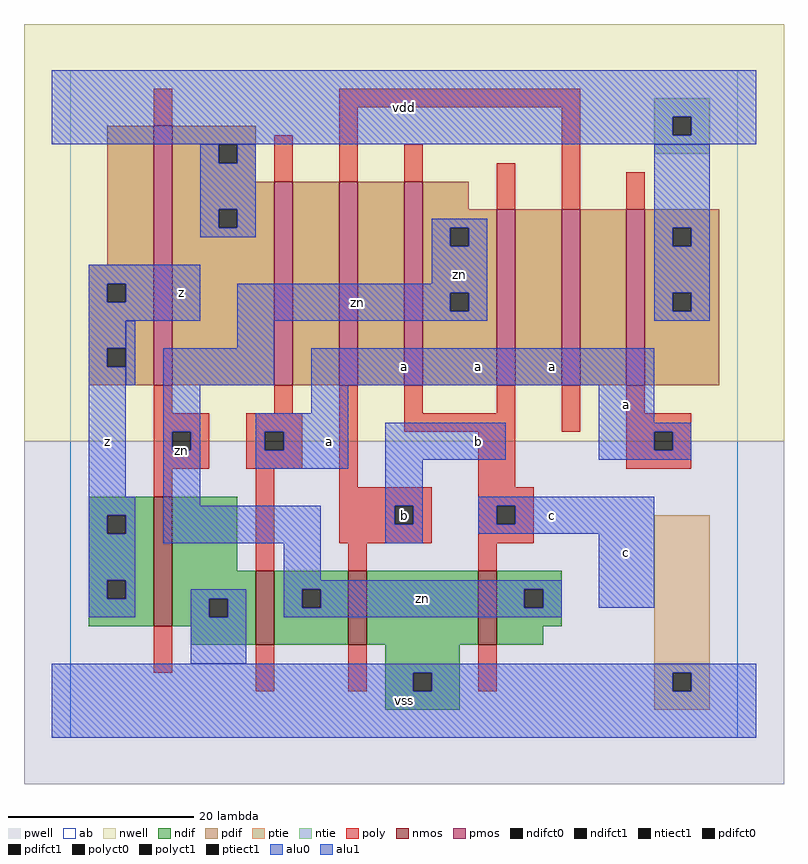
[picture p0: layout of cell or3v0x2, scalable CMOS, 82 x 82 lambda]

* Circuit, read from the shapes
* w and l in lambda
.subckt or3v0x2 a b c vdd vss z zn
M1 vss zn z vss nfet w=14 l=2
M2 zn a vss vss nfet w=8 l=2
M3 vss b zn vss nfet w=8 l=2
M4 zn c vss vss nfet w=8 l=2
M5 vdd zn z vdd pfet w=28 l=2
M6 n1 a vdd vdd pfet w=22 l=2
M7 n2 b n1 vdd pfet w=22 l=2
M8 zn c n2 vdd pfet w=22 l=2
M9 n3 c zn vdd pfet w=19 l=2
M10 n4 b n3 vdd pfet w=19 l=2
M11 vdd a n4 vdd pfet w=19 l=2
.ends

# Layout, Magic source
magic
tech scmos
<< ab >>
rect 0 0 72 72
<< nwell >>
rect -5 32 77 77
<< pwell >>
rect -5 -5 77 32
<< poly >>
rect 9 66 11 70
rect 29 68 55 70
rect 22 60 24 65
rect 29 60 31 68
rect 36 60 38 64
rect 46 57 48 62
rect 53 57 55 68
rect 60 57 62 61
rect 9 35 11 38
rect 22 35 24 38
rect 9 33 15 35
rect 9 31 11 33
rect 13 31 15 33
rect 9 29 15 31
rect 19 33 25 35
rect 19 31 21 33
rect 23 31 25 33
rect 19 29 25 31
rect 9 26 11 29
rect 20 18 22 29
rect 29 27 31 38
rect 36 35 38 38
rect 46 35 48 38
rect 36 33 48 35
rect 53 33 55 38
rect 60 35 62 38
rect 60 33 67 35
rect 44 27 48 33
rect 60 31 63 33
rect 65 31 67 33
rect 60 29 67 31
rect 29 25 39 27
rect 29 23 35 25
rect 37 23 39 25
rect 29 21 39 23
rect 44 25 50 27
rect 44 23 46 25
rect 48 23 50 25
rect 44 21 50 23
rect 30 18 32 21
rect 44 18 46 21
rect 9 7 11 12
rect 20 5 22 10
rect 30 5 32 10
rect 44 5 46 10
<< ndif >>
rect 2 24 9 26
rect 2 22 4 24
rect 6 22 9 24
rect 2 17 9 22
rect 2 15 4 17
rect 6 15 9 17
rect 2 12 9 15
rect 11 18 18 26
rect 11 15 20 18
rect 11 13 15 15
rect 17 13 20 15
rect 11 12 20 13
rect 13 10 20 12
rect 22 16 30 18
rect 22 14 25 16
rect 27 14 30 16
rect 22 10 30 14
rect 32 10 44 18
rect 46 16 53 18
rect 46 14 49 16
rect 51 14 53 16
rect 46 12 53 14
rect 46 10 51 12
rect 34 7 42 10
rect 34 5 37 7
rect 39 5 42 7
rect 34 3 42 5
<< pdif >>
rect 4 51 9 66
rect 2 49 9 51
rect 2 47 4 49
rect 6 47 9 49
rect 2 42 9 47
rect 2 40 4 42
rect 6 40 9 42
rect 2 38 9 40
rect 11 64 20 66
rect 11 62 16 64
rect 18 62 20 64
rect 11 60 20 62
rect 11 57 22 60
rect 11 55 16 57
rect 18 55 22 57
rect 11 38 22 55
rect 24 38 29 60
rect 31 38 36 60
rect 38 57 43 60
rect 38 55 46 57
rect 38 53 41 55
rect 43 53 46 55
rect 38 48 46 53
rect 38 46 41 48
rect 43 46 46 48
rect 38 38 46 46
rect 48 38 53 57
rect 55 38 60 57
rect 62 55 70 57
rect 62 53 65 55
rect 67 53 70 55
rect 62 48 70 53
rect 62 46 65 48
rect 67 46 70 48
rect 62 38 70 46
<< alu1 >>
rect -2 67 74 72
rect -2 65 65 67
rect 67 65 74 67
rect -2 64 74 65
rect 2 49 14 51
rect 2 47 4 49
rect 6 47 14 49
rect 2 45 14 47
rect 2 42 6 45
rect 2 40 4 42
rect 2 26 6 40
rect 26 38 63 42
rect 26 35 30 38
rect 2 24 7 26
rect 2 22 4 24
rect 6 22 7 24
rect 2 17 7 22
rect 20 33 30 35
rect 57 34 63 38
rect 20 31 21 33
rect 23 31 30 33
rect 20 29 30 31
rect 34 30 47 34
rect 57 33 67 34
rect 57 31 63 33
rect 65 31 67 33
rect 57 30 67 31
rect 34 25 38 30
rect 34 23 35 25
rect 37 23 38 25
rect 34 21 38 23
rect 44 25 63 26
rect 44 23 46 25
rect 48 23 63 25
rect 44 22 63 23
rect 2 15 4 17
rect 6 15 7 17
rect 2 13 7 15
rect 57 14 63 22
rect -2 7 74 8
rect -2 5 37 7
rect 39 5 65 7
rect 67 5 74 7
rect -2 0 74 5
<< ptie >>
rect 63 7 69 24
rect 63 5 65 7
rect 67 5 69 7
rect 63 3 69 5
<< ntie >>
rect 63 67 69 69
rect 63 65 65 67
rect 67 65 69 67
rect 63 63 69 65
<< nmos >>
rect 9 12 11 26
rect 20 10 22 18
rect 30 10 32 18
rect 44 10 46 18
<< pmos >>
rect 9 38 11 66
rect 22 38 24 60
rect 29 38 31 60
rect 36 38 38 60
rect 46 38 48 57
rect 53 38 55 57
rect 60 38 62 57
<< polyct0 >>
rect 11 31 13 33
<< polyct1 >>
rect 21 31 23 33
rect 63 31 65 33
rect 35 23 37 25
rect 46 23 48 25
<< ndifct0 >>
rect 15 13 17 15
rect 25 14 27 16
rect 49 14 51 16
<< ndifct1 >>
rect 4 22 6 24
rect 4 15 6 17
rect 37 5 39 7
<< ntiect1 >>
rect 65 65 67 67
<< ptiect1 >>
rect 65 5 67 7
<< pdifct0 >>
rect 16 62 18 64
rect 16 55 18 57
rect 41 53 43 55
rect 41 46 43 48
rect 65 53 67 55
rect 65 46 67 48
<< pdifct1 >>
rect 4 47 6 49
rect 4 40 6 42
<< alu0 >>
rect 14 62 16 64
rect 18 62 20 64
rect 14 57 20 62
rect 14 55 16 57
rect 18 55 20 57
rect 14 54 20 55
rect 39 55 45 56
rect 39 53 41 55
rect 43 53 45 55
rect 39 49 45 53
rect 18 48 45 49
rect 18 46 41 48
rect 43 46 45 48
rect 18 45 45 46
rect 63 55 69 64
rect 63 53 65 55
rect 67 53 69 55
rect 63 48 69 53
rect 63 46 65 48
rect 67 46 69 48
rect 63 45 69 46
rect 6 38 7 45
rect 18 42 22 45
rect 10 38 22 42
rect 10 33 14 38
rect 10 31 11 33
rect 13 31 14 33
rect 10 25 14 31
rect 10 21 27 25
rect 23 17 27 21
rect 23 16 53 17
rect 13 15 19 16
rect 13 13 15 15
rect 17 13 19 15
rect 23 14 25 16
rect 27 14 49 16
rect 51 14 53 16
rect 23 13 53 14
rect 13 8 19 13
<< labels >>
rlabel alu0 12 31 12 31 6 zn
rlabel alu0 42 50 42 50 6 zn
rlabel alu0 31 47 31 47 6 zn
rlabel alu0 38 15 38 15 6 zn
rlabel alu1 4 32 4 32 6 z
rlabel alu1 12 48 12 48 6 z
rlabel alu1 28 32 28 32 6 a
rlabel alu1 36 4 36 4 6 vss
rlabel polyct1 36 24 36 24 6 b
rlabel alu1 44 32 44 32 6 b
rlabel alu1 52 24 52 24 6 c
rlabel alu1 44 40 44 40 6 a
rlabel alu1 52 40 52 40 6 a
rlabel alu1 36 40 36 40 6 a
rlabel alu1 36 68 36 68 6 vdd
rlabel alu1 60 20 60 20 6 c
rlabel alu1 60 36 60 36 6 a
<< end >>
